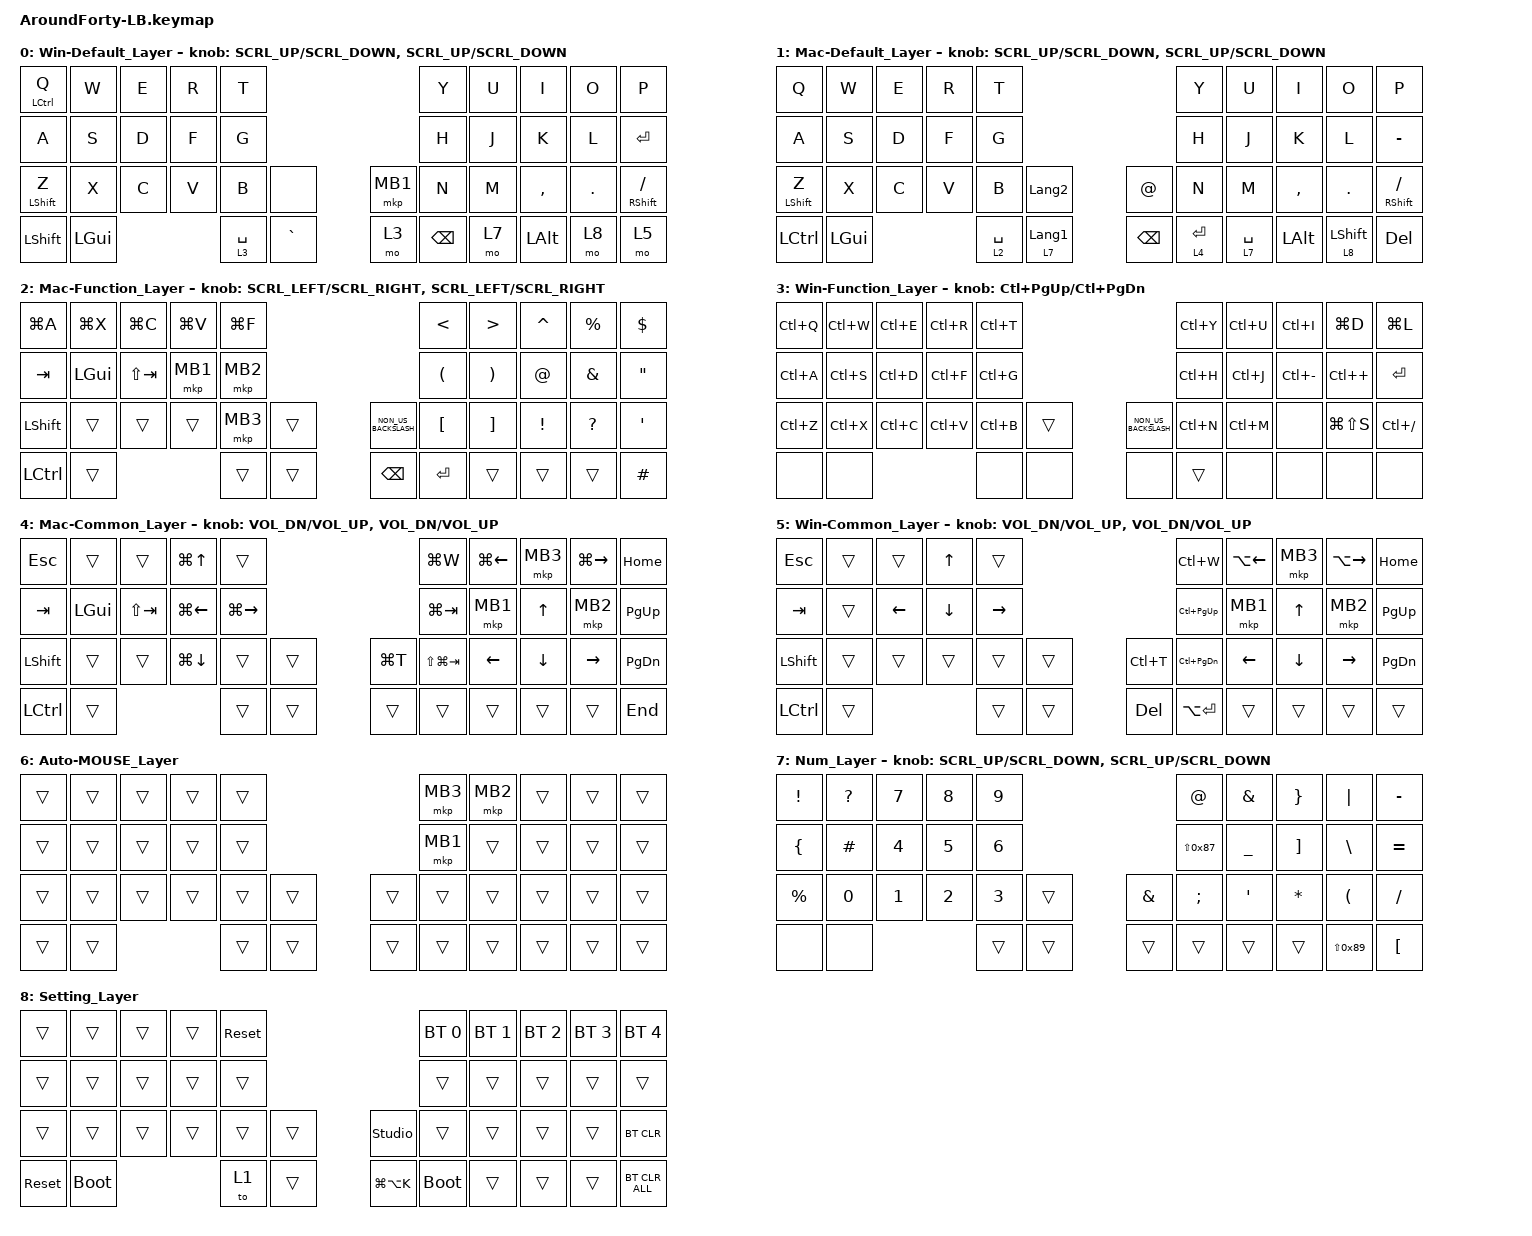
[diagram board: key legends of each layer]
#include <behaviors.dtsi>
#include <dt-bindings/zmk/bt.h>
#include <dt-bindings/zmk/keys.h>
#include <dt-bindings/zmk/pointing.h>

#undef ZMK_POINTING_DEFAULT_SCRL_VAL
#undef ZMK_POINTING_DEFAULT_MOVE_VAL

#define ZMK_POINTING_DEFAULT_MOVE_VAL 1800
#define ZMK_POINTING_DEFAULT_SCRL_VAL 10
#define MOUSE 6

// OS設定を日本語キーボードのまま使用するための変換定義
#define JP_DQUOTE       AT                // "
#define JP_AMPERSAND    CARET             // &
#define JP_QUOTE        AMPERSAND         // '
#define JP_EQUAL        UNDER             // =
#define JP_CARET        EQUAL             // ^
#define JP_YEN          0x89              // ¥
#define JP_PLUS         COLON             // +
#define JP_TILDE        PLUS              // ~
#define JP_PIPE         LS(0x89)          // |
#define JP_AT           LEFT_BRACKET      // @
#define JP_COLON        SINGLE_QUOTE      // :
#define JP_ASTERISK     DOUBLE_QUOTES     // *
#define JP_BACKQUOTE    LEFT_BRACE        // `
#define JP_UNDERSCORE   LS(0x87)          // _
#define JP_LBRACKET     RIGHT_BRACKET     // [
#define JP_RBRACKET     BACKSLASH         // ]
#define JP_LPAREN       ASTERISK          // (
#define JP_RPAREN       LEFT_PARENTHESIS  // )
#define JP_LBRACE       RIGHT_BRACE       // {
#define JP_RBRACE       PIPE              // }
#define JP_KANA         LANGUAGE_1        // かな
#define JP_EISU         LANGUAGE_2        // 英数
#define JP_HANZEN       GRAVE             // 半角/全角

&mt {
    flavor = "balanced";
    quick-tap-ms = <0>;
};

/ {
    //コンボ設定

    combos {
        compatible = "zmk,combos";

        tab {
            bindings = <&kp TAB>;
            key-positions = <11 12>;
        };

        shift_tab {
            bindings = <&kp LS(TAB)>;
            key-positions = <12 13>;
        };

        muhennkann {
            bindings = <&to_layer_0 INT_MUHENKAN>;
            key-positions = <11 10>;
        };

        double_quotation {
            bindings = <&kp DOUBLE_QUOTES>;
            key-positions = <20 21>;
        };

        eq {
            bindings = <&kp EQUAL>;
            key-positions = <24 25>;
        };
    };

    //マクロ(既存のキーの組み合わせ)

    macros {
        to_layer_0: to_layer_0 {
            compatible = "zmk,behavior-macro-one-param";
            #binding-cells = <1>;
            bindings = <&to 0 &macro_param_1to1 &kp MACRO_PLACEHOLDER>;
            label = "TO_LAYER_0";
        };
    };

    //新たな動作を定義する

    behaviors {
        lt_to_layer_0: lt_to_layer_0 {
            compatible = "zmk,behavior-hold-tap";
            label = "LAYER_TAP_TO_0";
            bindings = <&mo>, <&to_layer_0>;

            #binding-cells = <2>;
            tapping-term-ms = <200>;
        };

        mouse_scroll: mouse_wheel_scrl {
            compatible = "zmk,behavior-sensor-rotate-var";
            #sensor-binding-cells = <2>;
            bindings = <&msc>, <&msc>;

            tap-ms = <20>;
        };
    };

    //キーマップ設定

    keymap {
        compatible = "zmk,keymap";


        //layer_0
        Win-Default_Layer {
            bindings = <
&mt LCTRL Q       &kp W         &kp E  &kp R  &kp T                                                      &kp Y            &kp U      &kp I         &kp O             &kp P
&kp A             &kp S         &kp D  &kp F  &kp G                                                      &kp H            &kp J      &kp K         &kp L             &kp ENTER
&mt LEFT_SHIFT Z  &kp X         &kp C  &kp V  &kp B          &none                        &mkp MB1       &kp N            &kp M      &kp COMMA     &kp PERIOD        &mt RIGHT_SHIFT SLASH
&kp LEFT_SHIFT    &kp LEFT_GUI                &lt 3 SPACE    &kp JP_HANZEN                &mo 3          &kp BACKSPACE    &mo 7      &kp LEFT_ALT  &mo 8             &mo 5
            >;

            sensor-bindings =
                <&mouse_scroll SCRL_UP SCRL_DOWN>,
                <&mouse_scroll SCRL_UP SCRL_DOWN>;
        };

        //layer_1
        Mac-Default_Layer {
            bindings = <
&kp Q             &kp W         &kp E  &kp R  &kp T          &kp Y                        &kp U          &kp I        &kp O        &kp P
&kp A             &kp S         &kp D  &kp F  &kp G          &kp H                        &kp J          &kp K        &kp L        &kp MINUS
&mt LEFT_SHIFT Z  &kp X         &kp C  &kp V  &kp B          &kp LANGUAGE_2               &kp AT_SIGN    &kp N        &kp M        &kp COMMA     &kp PERIOD        &mt RIGHT_SHIFT SLASH
&kp LCTRL         &kp LEFT_GUI                &lt 2 SPACE    &lt_to_layer_0 7 LANGUAGE_1  &kp BACKSPACE  &lt 4 ENTER  &lt 7 SPACE  &kp LEFT_ALT  &lt 8 LEFT_SHIFT  &kp DEL
            >;

            sensor-bindings =
                <&mouse_scroll SCRL_UP SCRL_DOWN>,
                <&mouse_scroll SCRL_UP SCRL_DOWN>;
        };

        //layer_2
        Mac-Function_Layer {
            bindings = <
&kp LG(A)       &kp LG(X)     &kp LG(C)    &kp LG(V)  &kp LG(F)    &kp LESS_THAN         &kp GREATER_THAN       &kp CARET         &kp PERCENT        &kp DOLLAR
&kp TAB         &kp LEFT_GUI  &kp LS(TAB)  &mkp MB1   &mkp MB2     &kp LEFT_PARENTHESIS  &kp RIGHT_PARENTHESIS  &kp AT_SIGN       &kp AMPERSAND      &kp DOUBLE_QUOTES
&kp LEFT_SHIFT  &trans        &trans       &trans     &mkp MB3     &trans                &kp NON_US_BACKSLASH   &kp LEFT_BRACKET  &kp RIGHT_BRACKET  &kp EXCLAMATION    &kp QUESTION  &kp SINGLE_QUOTE
&kp LCTRL       &trans                                &trans       &trans                &kp BACKSPACE          &kp ENTER         &trans             &trans             &trans        &kp HASH
            >;

            sensor-bindings =
                <&mouse_scroll SCRL_LEFT SCRL_RIGHT>,
                <&mouse_scroll SCRL_LEFT SCRL_RIGHT>;
        };

        //layer_3
        Win-Function_Layer {
            bindings = <
&kp LC(Q)       &kp LC(W)     &kp LC(E)      &kp LC(R)   &kp LC(T)                                         &kp LC(Y)  &kp LC(U)  &kp LC(I)        &kp LG(D)      &kp LG(L)
&kp LC(A)       &kp LC(S)     &kp LC(D)      &kp LC(F)   &kp LC(G)                                         &kp LC(H)  &kp LC(J)  &kp LC(MINUS)    &kp LC(PLUS)   &kp ENTER
&kp LC(Z)       &kp LC(X)     &kp LC(C)      &kp LC(V)   &kp LC(B)      &trans      &kp NON_US_BACKSLASH   &kp LC(N)  &kp LC(M)  &none            &kp LG(LS(S))  &kp LC(SLASH)
&none           &none                                    &none          &none       &none                  &trans  &none      &none            &none          &none
            >;

            sensor-bindings = <&inc_dec_kp LC(PAGE_UP) LC(PAGE_DOWN)>;
        };

        //layer_4
        Mac-Common_Layer {
            bindings = <
&kp ESCAPE      &trans        &trans       &kp LG(UP_ARROW)    &trans                 &kp LG(W)    &kp LG(LEFT_ARROW)  &mkp MB3         &kp LG(RIGHT_ARROW)  &kp HOME
&kp TAB         &kp LEFT_GUI  &kp LS(TAB)  &kp LG(LEFT_ARROW)  &kp LG(RIGHT_ARROW)    &kp LG(TAB)  &mkp MB1            &kp UP_ARROW     &mkp MB2             &kp PAGE_UP
&kp LEFT_SHIFT  &trans        &trans       &kp LG(DOWN_ARROW)  &trans                 &trans       &kp LG(T)           &kp LS(LG(TAB))  &kp LEFT_ARROW       &kp DOWN_ARROW  &kp RIGHT_ARROW  &kp PAGE_DOWN
&kp LCTRL       &trans                                         &trans                 &trans       &trans              &trans           &trans               &trans          &trans           &kp END
            >;

            sensor-bindings =
                <&inc_dec_kp C_VOL_DN C_VOL_UP>,
                <&inc_dec_kp C_VOL_DN C_VOL_UP>;
        };

        //layer_5
        Win-Common_Layer {
            bindings = <
&kp ESCAPE      &trans        &trans          &kp UP_ARROW    &trans                                               &kp LC(W)          &kp LA(LEFT_ARROW)  &mkp MB3         &kp LA(RIGHT_ARROW)  &kp HOME
&kp TAB         &trans        &kp LEFT_ARROW  &kp DOWN_ARROW  &kp RIGHT_ARROW                                      &kp LC(PAGE_UP)    &mkp MB1            &kp UP_ARROW     &mkp MB2             &kp PAGE_UP
&kp LEFT_SHIFT  &trans        &trans          &trans          &trans           &trans           &kp LC(T)          &kp LC(PAGE_DOWN)  &kp LEFT_ARROW      &kp DOWN_ARROW   &kp RIGHT_ARROW      &kp PAGE_DOWN
&kp LCTRL       &trans                                        &trans           &trans           &kp DEL            &kp LA(ENTER)      &trans              &trans           &trans               &trans
            >;

            sensor-bindings =
                <&inc_dec_kp C_VOL_DN C_VOL_UP>,
                <&inc_dec_kp C_VOL_DN C_VOL_UP>;
        };

        //layer_6
        Auto-MOUSE_Layer {
            bindings = <
&trans  &trans  &trans  &trans  &trans                      &mkp MB3  &mkp MB2  &trans  &trans  &trans
&trans  &trans  &trans  &trans  &trans                      &mkp MB1  &trans    &trans  &trans  &trans
&trans  &trans  &trans  &trans  &trans    &trans    &trans  &trans    &trans    &trans  &trans  &trans
&trans  &trans                  &trans    &trans    &trans  &trans    &trans    &trans  &trans  &trans
            >;
        };

        //layer_7
        Num_Layer {
            bindings = <
&kp EXCL          &kp QMARK   &kp N7  &kp N8  &kp N9                            &kp JP_DQUOTE      &kp JP_QUOTE    &kp JP_LBRACE     &kp JP_RBRACE    &kp MINUS
&kp JP_BACKQUOTE  &kp POUND   &kp N4  &kp N5  &kp N6                            &kp JP_UNDERSCORE  &kp JP_EQUAL    &kp JP_LBRACKET   &kp JP_RBRACKET  &kp JP_CARET
&kp PRCNT         &kp N0      &kp N1  &kp N2  &kp N3    &trans   &kp AMPERSAND  &kp SEMI           &kp JP_COLON    &kp JP_LPAREN     &kp JP_RPAREN    &kp SLASH
&none             &none                       &trans    &trans   &trans         &trans             &trans          &trans            &kp JP_PIPE      &kp JP_AT 
            >;

            sensor-bindings =
                <&mouse_scroll SCRL_UP SCRL_DOWN>,
                <&mouse_scroll SCRL_UP SCRL_DOWN>;

        };

        //layer_8
        Setting_Layer {
            bindings = <
&trans      &trans       &trans  &trans  &sys_reset                                &bt BT_SEL 0  &bt BT_SEL 1    &bt BT_SEL 2  &bt BT_SEL 3  &bt BT_SEL 4
&trans      &trans       &trans  &trans  &trans                                    &trans        &trans          &trans        &trans        &trans
&trans      &trans       &trans  &trans  &trans    &trans        &studio_unlock    &trans        &trans          &trans        &trans        &bt BT_CLR
&sys_reset  &bootloader                  &to 1     &trans        &kp LG(LA(K))     &bootloader   &trans          &trans        &trans        &bt BT_CLR_ALL
            >;
        };
    };
};
